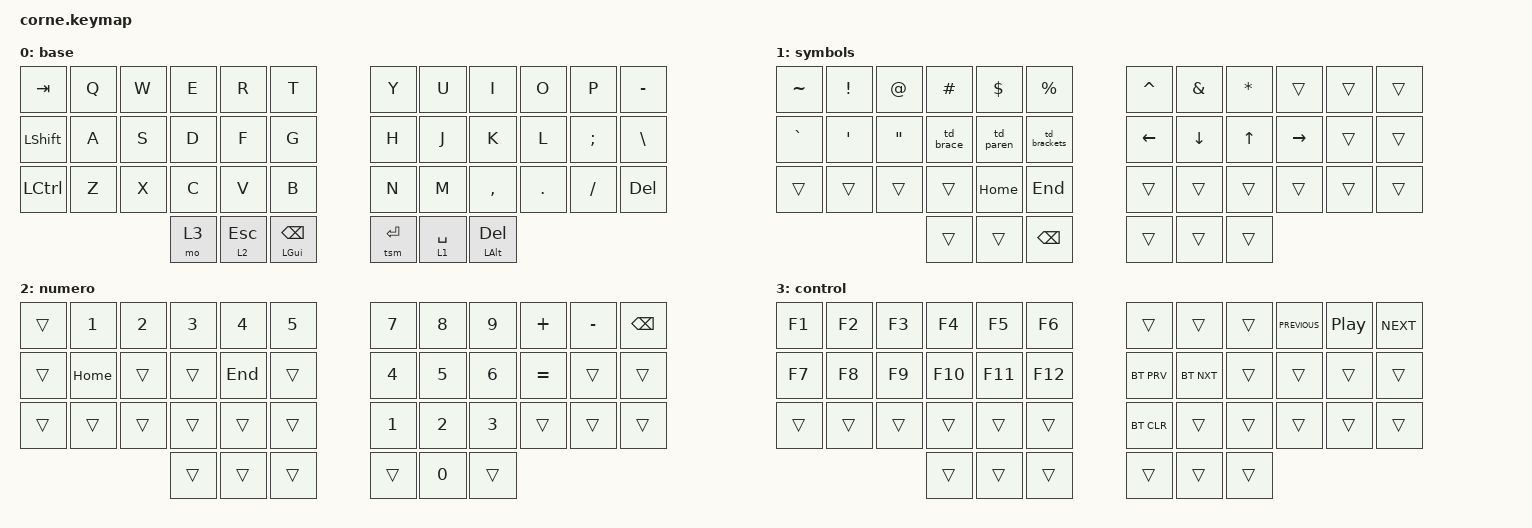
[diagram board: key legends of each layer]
/*
 * Copyright (c) 2020 The ZMK Contributors
 *
 * SPDX-License-Identifier: MIT
 */

#include <behaviors.dtsi>
#include <dt-bindings/zmk/bt.h>
#include <dt-bindings/zmk/keys.h>

/ {
    macros {
        tsm: tsm {
            compatible = "zmk,behavior-macro";
            #binding-cells = <0>;
            bindings = 
                <&macro_press &mo 2 &kp LGUI>,
                <&macro_pause_for_release>,
                <&macro_release &mo 2 &kp LGUI>;
        };
    };

    behaviors {
        td_brackets: td_brackets {
            compatible = "zmk,behavior-tap-dance";
            #binding-cells = <0>;
            tapping-term-ms = <160>;
            bindings = <&kp LEFT_BRACKET>, <&kp RIGHT_BRACKET>;
        };

        td_paren: td_paren {
            compatible = "zmk,behavior-tap-dance";
            #binding-cells = <0>;
            tapping-term-ms = <160>;
            bindings = <&kp LEFT_PARENTHESIS>, <&kp RIGHT_PARENTHESIS>;
        };

        td_brace: td_brace {
            compatible = "zmk,behavior-tap-dance";
            #binding-cells = <0>;
            tapping-term-ms = <160>;
            bindings = <&kp LEFT_BRACE>, <&kp RIGHT_BRACE>;
        };
        tile_ret: tile_ret {
            compatible = "zmk,behavior-hold-tap";
            #binding-cells = <2>;
            tapping-term-ms = <160>;
            bindings = <&tsm>, <&kp>;
        };
    };

    keymap {
        compatible = "zmk,keymap";

        base {
            bindings = <
&kp TAB         &kp Q  &kp W  &kp E  &kp R      &kp T               &kp Y           &kp U       &kp I      &kp O    &kp P     &kp MINUS
&kp LEFT_SHIFT  &kp A  &kp S  &kp D  &kp F      &kp G               &kp H           &kp J       &kp K      &kp L    &kp SEMI  &kp BACKSLASH
&kp LCTRL       &kp Z  &kp X  &kp C  &kp V      &kp B               &kp N           &kp M       &kp COMMA  &kp DOT  &kp FSLH  &kp DEL
                              &mo 3  &lt 2 ESC  &mt LGUI BACKSPACE  &tile_ret 0 RET &lt 1 SPACE &mt LEFT_ALT DEL
            >;
        };

        symbols {
            bindings = <
&kp TILDE  &kp EXCL          &kp AT             &kp HASH        &kp DLLR    &kp PRCNT       &kp CARET  &kp AMPS   &kp ASTRK  &trans    &trans  &trans
&kp GRAVE  &kp SINGLE_QUOTE  &kp DOUBLE_QUOTES  &td_brace       &td_paren   &td_brackets    &kp LEFT   &kp DOWN   &kp UP     &kp RIGHT &trans  &trans
&trans     &trans            &trans             &trans          &kp HOME    &kp END         &trans     &trans     &trans     &trans    &trans  &trans
                                                &trans          &trans      &kp BACKSPACE   &trans     &trans     &trans
            >;
        };

        numero {
            bindings = <
&trans  &kp N1    &kp N2    &kp N3  &kp N4  &kp N5      &kp N7    &kp N8    &kp N9  &kp PLUS   &kp MINUS  &kp BACKSPACE
&trans  &kp HOME    &trans  &trans  &kp END &trans      &kp N4    &kp N5    &kp N6  &kp EQUAL  &trans     &trans
&trans  &trans      &trans  &trans  &trans  &trans      &kp N1    &kp N2    &kp N3  &trans     &trans     &trans
                        &trans  &trans  &trans      &trans    &kp N0    &trans
            >;
        };

        control {
            bindings = <
&kp F1  &kp F2  &kp F3  &kp F4  &kp F5  &kp F6    &trans      &trans      &trans  &kp C_PREVIOUS  &kp C_PLAY_PAUSE  &kp C_NEXT
&kp F7  &kp F8  &kp F9  &kp F10 &kp F11 &kp F12   &bt BT_PRV  &bt BT_NXT  &trans  &trans          &trans            &trans
&trans  &trans  &trans  &trans  &trans  &trans    &bt BT_CLR  &trans      &trans  &trans          &trans            &trans
                        &trans  &trans  &trans    &trans      &trans      &trans
            >;
        };
    };
};
